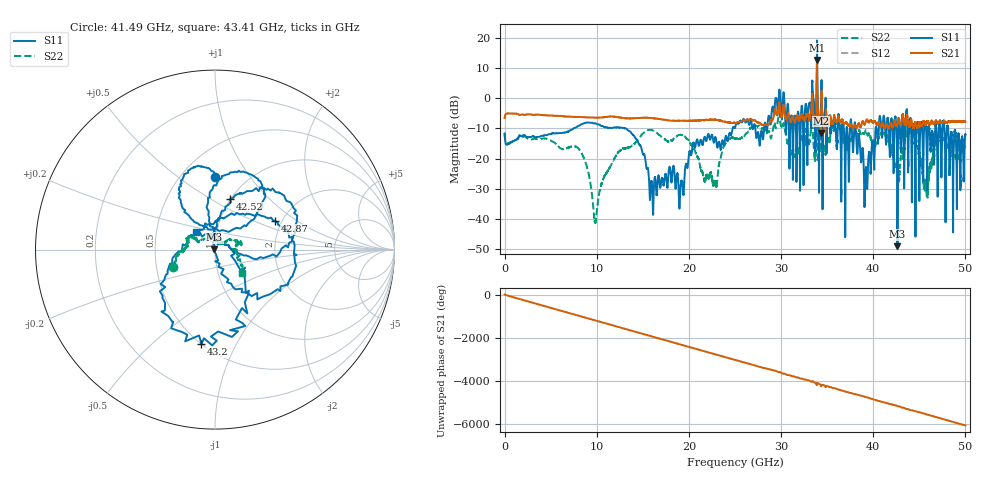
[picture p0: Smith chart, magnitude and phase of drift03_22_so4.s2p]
!Created with skrf (http://scikit-rf.org).
# Hz S RI R 50.0
!freq ReS11 ImS11 ReS21 ImS21 ReS12 ImS12 ReS22 ImS22
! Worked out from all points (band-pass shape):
!   10001 points, 300 kHz to 50 GHz, reference 50 ohm
!   highest |S21| = 12.65 dB at 33.9 GHz (marker M1); lowest = -11.5 dB at 34.32 GHz (marker M2)
!   |S21| within 3 dB of the highest: 33.88962 GHz to 33.90647 GHz (16.84 MHz wide, 0.0497 % of centre)
!   lowest |S11| = -49.0 dB at 42.63 GHz (marker M3), VSWR 1.01, Z = 49.7 + j0.135 ohm
!   |S11| at or under -10 dB: start of sweep to 7.488 GHz; 13.13 GHz to 24.74 GHz (11.61 GHz wide, 61.3 % of centre); 38.09 GHz to 40.26 GHz (2.17 GHz wide, 5.54 % of centre) (the widest 3 of 49)
!   |S22| runs from -41.3 to 4.9 dB; largest |S21 - S12| = 0.32
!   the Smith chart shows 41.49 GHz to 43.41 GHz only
!   S11 on the Smith chart (normalised r, x): 41.49 GHz: 0.72, +0.69; 42.52 GHz: 0.99, +0.62; 42.87 GHz: 1.84, +0.69; 43.2 GHz: 0.50, -0.73; 43.41 GHz: 0.79, +0.16
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300000  -0.2332 -0.1185  0.4643 0.079  0.4648 0.0779  -0.2345 -0.1245
1.440291e9  0.2103 0.0648  -0.5478 -0.0292  -0.5479 -0.0289  0.2109 -0.00424
2.915283e9  -0.2119 -0.0879  0.5342 0.051  0.5345 0.0514  -0.2025 0.0402
4.415274e9  0.2064 0.1319  -0.5223 -0.042  -0.5216 -0.0416  0.1978 -0.0876
8.33525e9  0.2888 -0.2338  0.1466 0.4655  0.1464 0.466  -0.0728 -0.1009
9.850241e9  -0.3622 0.1321  -0.1531 -0.45  -0.1532 -0.4505  0.00827 0.00227
1.66702e10  0.0274 0.0443  -0.3777 0.2538  -0.3781 0.2538  -0.127 -0.2188
2.500015e10  -0.3264 -0.0148  -0.2558 -0.296  -0.2543 -0.2975  -0.2124 0.028
2.895513e10  -0.3238 0.4324  -0.2873 0.3265  -0.298 0.2914  0.0644 0.2206
3.006512e10  0.397 0.2646  0.4487 -0.1982  0.4529 -0.1834  0.1723 -0.2974
3.171011e10  -0.0911 0.187  -0.3592 0.3587  -0.3594 0.3557  0.0652 0.1586
3.33351e10  0.5845 -0.8152  0.2371 -0.8296  0.2376 -0.8106  -0.1904 -0.4094
3.39001e10  3.295 -8.218  -3.899 -1.794  -3.805 -1.504  -0.6214 1.648
3.432009e10  -0.7797 0.000222  -0.1793 0.1983  -0.2404 0.1778  0.1419 -0.0712
4.149005e10  -0.00135 0.4024  0.3326 0.1471  0.3338 0.1452  -0.2365 -0.0979
4.167005e10  -0.1965 0.3039  0.3128 0.00396  0.3115 0.0104  -0.192 -0.0126
4.252004e10  0.0847 0.2835  -0.0294 -0.3477  -0.0282 -0.3438  -0.0293 0.0707
4.263004e10  -0.00329 0.00136  -0.1695 -0.3404  -0.1624 -0.3421  -0.021 0.0893
4.287004e10  0.3347 0.1604  -0.2672 -0.2832  -0.2693 -0.2847  0.0516 0.0393
4.320004e10  -0.0753 -0.5254  -0.5481 0.0376  -0.5362 0.0365  0.116 0.0258
4.341004e10  -0.107 0.0966  -0.3189 0.1891  -0.3179 0.1878  0.1521 -0.1282
5e10  -0.1251 -0.22  0.1443 0.3851  0.1441 0.3833  -0.0558 -0.1435
